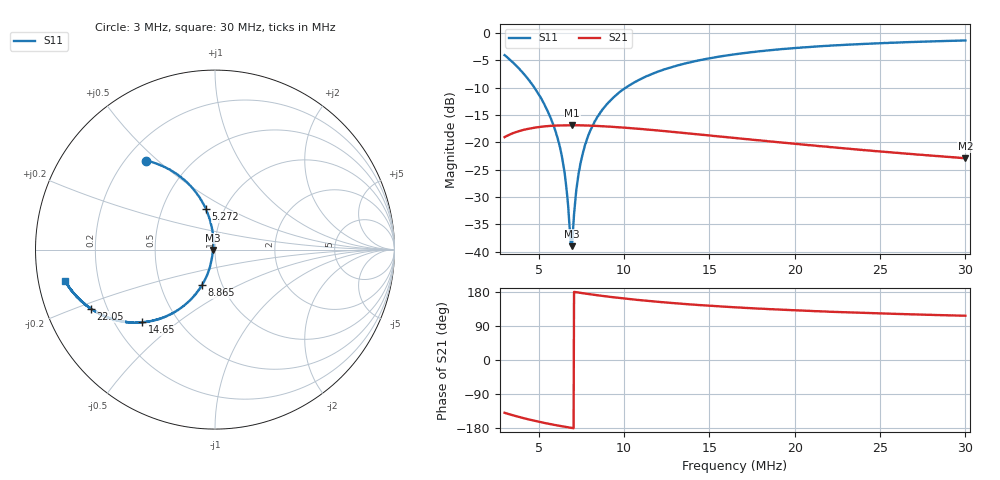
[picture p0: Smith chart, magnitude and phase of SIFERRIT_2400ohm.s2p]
# HZ S RI R 50
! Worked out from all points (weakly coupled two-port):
!   1023 points, 3 MHz to 30 MHz, reference 50 ohm
!   highest |S21| = -16.86 dB at 6.963 MHz (marker M1); lowest = -22.9 dB at 30 MHz (marker M2)
!   lowest |S11| = -39.0 dB at 6.936 MHz (marker M3), VSWR 1.02, Z = 48.9 - j0.135 ohm
!   |S11| at or under -10 dB: 4.746 MHz to 10.1 MHz (5.354 MHz wide, 72.1 % of centre)
!   S12 and S22 are empty: the file has one direction only
!   S11 on the Smith chart (normalised r, x): 3 MHz: 0.28, +0.46; 5.272 MHz: 0.82, +0.39; 8.865 MHz: 0.80, -0.33; 14.65 MHz: 0.31, -0.38; 22.05 MHz: 0.14, -0.22; 30 MHz: 0.08, -0.10
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3000000  -0.3853 0.4946  -0.0847 -0.0727  0 0  0 0
4241693  -0.1529 0.3722  -0.1189 -0.0559  0 0  0 0
5272034  -0.0517 0.2261  -0.135 -0.0351  0 0  0 0
5853252  -0.0223 0.1425  -0.1401 -0.0229  0 0  0 0
6275956  -0.0121 0.0849  -0.1421 -0.0145  0 0  0 0
6566565  -0.00948 0.0444  -0.143 -0.00886  0 0  0 0
6830755  -0.0106 0.0114  -0.1433 -0.00409  0 0  0 0
6936431  -0.0112 -0.00139  -0.1433 -0.00189  0 0  0 0
6962850  -0.0112 -0.00494  -0.1435 -0.00141  0 0  0 0
7015688  -0.0126 -0.0111  -0.1433 -0.000523  0 0  0 0
7253459  -0.0156 -0.0389  -0.1431 0.00374  0 0  0 0
7517649  -0.0218 -0.0685  -0.1428 0.00839  0 0  0 0
8046029  -0.0372 -0.1254  -0.1412 0.0168  0 0  0 0
8865018  -0.0737 -0.1982  -0.1373 0.0279  0 0  0 0
1.008029e7  -0.1389 -0.2826  -0.1293 0.0422  0 0  0 0
1.200888e7  -0.2543 -0.3639  -0.1147 0.057  0 0  0 0
1.465078e7  -0.4057 -0.4042  -0.095 0.0686  0 0  0 0
1.650011e7  -0.4948 -0.4044  -0.0829 0.0717  0 0  0 0
2.101776e7  -0.6618 -0.3475  -0.0594 0.0727  0 0  0 0
2.20481e7  -0.6915 -0.3298  -0.0551 0.0722  0 0  0 0
2.550899e7  -0.7664 -0.2648  -0.0436 0.0688  0 0  0 0
3.000022e7  -0.8348 -0.1757  -0.0323 0.0638  0 0  0 0
